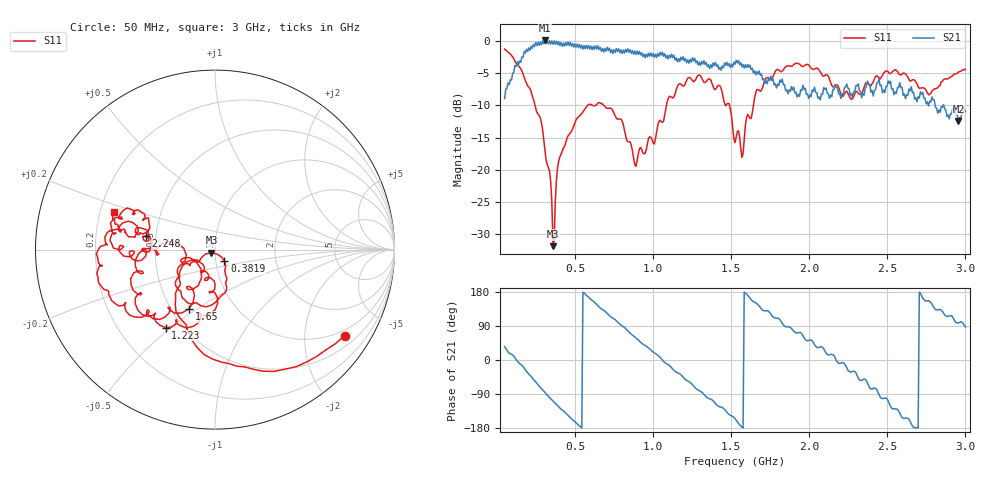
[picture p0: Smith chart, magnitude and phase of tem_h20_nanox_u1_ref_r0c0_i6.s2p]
! nanovna_capture.py 2026-10-26T21:57:57+0900
! NanoVNA-F_V2 fw 0.6.0 SN 4A3639384505514B
! cal: load open short thru cal'ed  over 50000000-3000000000 Hz, 201 points
! points 401, avg 4
! TEM h=20, genuine Nano X, 0 deg, centred, interleaved run G6
# HZ S RI R 50
! S12 and S22 are not measured (written as 0)
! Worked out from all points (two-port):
!   401 points, 50 MHz to 3 GHz, reference 50 ohm
!   highest |S21| = 0.10 dB at 308.1 MHz (marker M1); lowest = -12.4 dB at 2.956 GHz (marker M2)
!   |S21| within 3 dB of the highest: 156.7 MHz to 1.141 GHz (984.5 MHz wide, 152 % of centre); 1.142 GHz to 1.152 GHz (10.35 MHz wide, 0.902 % of centre) (the widest 2 of 9)
!   lowest |S11| = -31.9 dB at 359.8 MHz (marker M3), VSWR 1.05, Z = 48 - j1.56 ohm
!   |S11| at or under -10 dB: 245 MHz to 581.7 MHz (336.7 MHz wide, 81.5 % of centre); 685.5 MHz to 1.086 GHz (400.5 MHz wide, 45.2 % of centre); 1.49 GHz to 1.643 GHz (152.7 MHz wide, 9.75 % of centre) (the widest 3 of 5)
!   S12 and S22 are empty: the file has one direction only
!   S11 on the Smith chart (normalised r, x): 50 MHz: 0.81, -3.12; 381.9 MHz: 1.10, -0.14; 1.223 GHz: 0.41, -0.48; 1.65 GHz: 0.61, -0.47; 2.248 GHz: 0.44, +0.08; 3 GHz: 0.26, +0.17
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5e7  0.7216 -0.4794  0.2903 0.2086  0 0  0 0
1.09e8  0.2662 -0.6772  0.5614 0.1015  0 0  0 0
1.90125e8  -0.1559 -0.4439  0.75 -0.4301  0 0  0 0
3.08125e8  -0.1289 -0.0584  0.0744 -1.009  0 0  0 0
3.5975e8  -0.0198 -0.0162  -0.2963 -0.8975  0 0  0 0
3.81875e8  0.0527 -0.0646  -0.4647 -0.8841  0 0  0 0
5.44125e8  0.0194 -0.2728  -0.9304 -0.0159  0 0  0 0
7.80125e8  -0.1976 -0.1507  -0.1113 0.8634  0 0  0 0
8.9075e8  -0.0666 -0.0828  0.4126 0.6705  0 0  0 0
1.03825e9  -0.0183 -0.2372  0.7532 0.1312  0 0  0 0
1.222625e9  -0.2746 -0.4347  0.4043 -0.5889  0 0  0 0
1.429125e9  -0.4445 -0.0607  -0.3459 -0.5223  0 0  0 0
1.525e9  -0.1598 -0.0295  -0.5979 -0.2797  0 0  0 0
1.56925e9  -0.1058 -0.0665  -0.6279 -0.0352  0 0  0 0
1.650375e9  -0.1456 -0.331  -0.5214 0.2723  0 0  0 0
1.827375e9  -0.5008 -0.3018  -0.0561 0.5041  0 0  0 0
2.019125e9  -0.6044 0.031  0.2639 0.3214  0 0  0 0
2.24775e9  -0.3864 0.0751  0.3832 -0.1959  0 0  0 0
2.51325e9  -0.5513 0.0918  -0.2066 -0.4213  0 0  0 0
2.653375e9  -0.4525 0.1946  -0.4332 -0.0885  0 0  0 0
2.95575e9  -0.5563 0.142  -0.0318 0.2372  0 0  0 0
3e9  -0.5613 0.211  0.0155 0.2834  0 0  0 0
